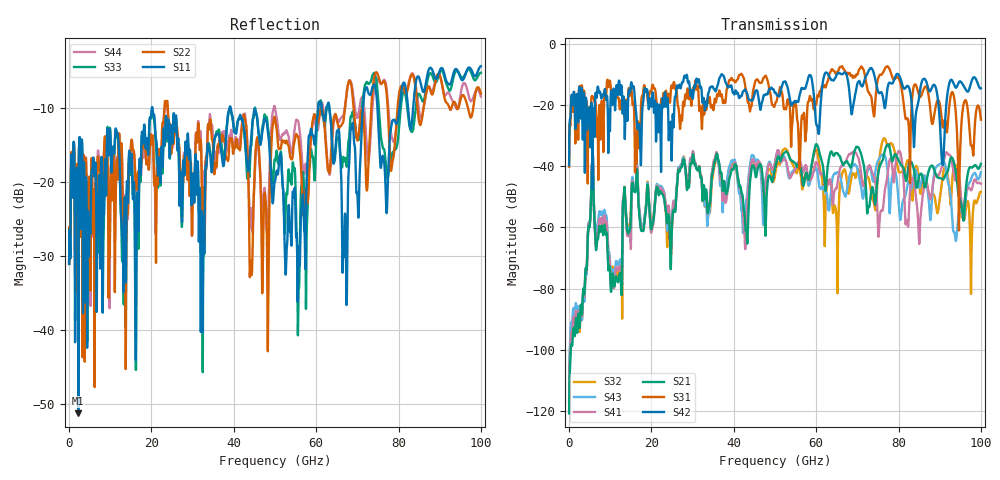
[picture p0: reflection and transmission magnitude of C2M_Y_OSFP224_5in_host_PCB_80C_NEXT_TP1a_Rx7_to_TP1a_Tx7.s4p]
# GHz S RI R 45
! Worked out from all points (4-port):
!   4000 points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, 25 MHz to 100 GHz, reference 45 ohm
!   strongest paths, dB at 25 MHz, 25.02 GHz, 50.02 GHz, 75.03 GHz, 100 GHz:
!     S42: -39.6, -28.1, -16.1, -15.6, -14.6
!     S31: -40.2, -14.0, -19.6, -11.5, -24.8
!     S21: -120.8, -59.0, -40.8, -42.8, -39.3
!     S41: -116.9, -57.0, -38.7, -60.9, -45.8
!     S43: -113.6, -56.8, -38.7, -38.3, -42.0
!     S32: -117.0, -59.2, -42.6, -42.4, -48.5
!   lowest |S11| = -51.3 dB at 2.25 GHz (marker M1), VSWR 1.01, Z = 45.1 + j0.213 ohm
!   |S11| at or under -10 dB: start of sweep to 20.12 GHz; 20.25 GHz to 38.98 GHz (18.73 GHz wide, 63.3 % of centre); 39.24 GHz to 60.47 GHz (21.23 GHz wide, 42.6 % of centre) (the widest 3 of 7)
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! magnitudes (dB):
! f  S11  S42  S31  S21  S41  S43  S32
! 25 MHz  -31.1  -39.6  -40.2  -120.8  -116.9  -113.6  -117.0
! 2.25 GHz  -51.3  -23.6  -27.8  -88.3  -87.3  -85.7  -87.8
! 5.625 GHz  -18.7  -25.1  -17.5  -39.2  -39.2  -39.1  -39.1
! 10.6 GHz  -15.4  -18.4  -15.6  -75.1  -75.8  -73.8  -72.9
! 27.65 GHz  -18.5  -12.7  -19.9  -38.4  -37.7  -37.3  -37.9
! 90.67 GHz  -4.7  -39.5  -27.1  -44.4  -40.1  -38.6  -43.8
! 100 GHz  -4.4  -14.6  -24.8  -39.3  -45.8  -42.0  -48.5
